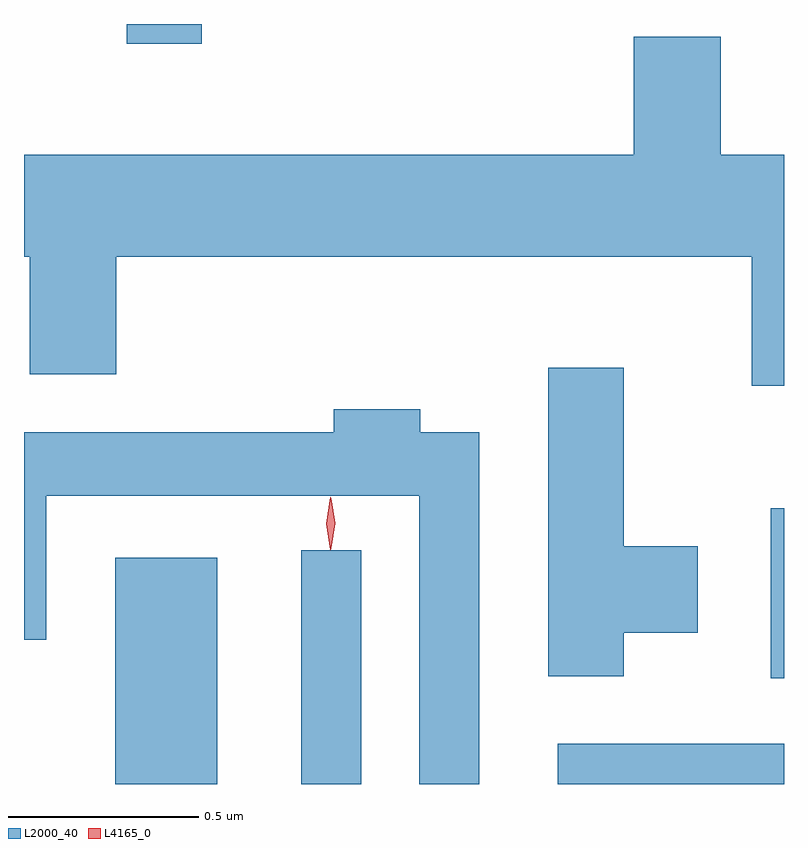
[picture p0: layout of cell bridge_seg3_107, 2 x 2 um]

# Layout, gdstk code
import gdstk
lib = gdstk.Library(unit=1e-6, precision=1e-09)
def R(c, l, rs):  # rectangles x0, y0, x1, y1
    for r in rs: c.add(gdstk.rectangle(r[:2], r[2:], *l))
def P(c, l, *ps):  # polygons
    for p in ps: c.add(gdstk.Polygon(p, *l))
L2000_40 = (2000, 40)
L4165_0 = (4165, 0)

bridge_seg3_107 = lib.new_cell('bridge_seg3_107')
R(bridge_seg3_107, L2000_40, [(1030.376,1248.948,1030.644,1249.544), (1030.866,1248.948,1031.024,1249.563), (1031.541,1248.948,1032.136,1249.054), (1032.101,1249.226,1032.136,1249.674), (1030.406,1250.896,1030.604,1250.948)])
P(bridge_seg3_107, L2000_40, [(1032.136,1250.604),(1031.969,1250.604),(1031.969,1250.914),(1031.741,1250.914),(1031.741,1250.604),(1030.136,1250.604),(1030.136,1250.336),(1030.151,1250.336),(1030.151,1250.026),(1030.379,1250.026),(1030.379,1250.336),(1032.051,1250.336),(1032.051,1249.996),(1032.136,1249.996)],
  [(1031.714,1249.346),(1031.909,1249.346),(1031.909,1249.574),(1031.714,1249.574),(1031.714,1250.044),(1031.516,1250.044),(1031.516,1249.231),(1031.714,1249.231)],
  [(1031.334,1249.874),(1031.179,1249.874),(1031.179,1249.934),(1030.951,1249.934),(1030.951,1249.874),(1030.136,1249.874),(1030.136,1249.328),(1030.194,1249.328),(1030.194,1249.706),(1031.176,1249.706),(1031.176,1248.948),(1031.334,1248.948)])
P(bridge_seg3_107, L4165_0, [(1030.942,1249.563),(1030.942,1249.564),(1030.932,1249.633),(1030.942,1249.702),(1030.942,1249.703),(1030.943,1249.702),(1030.952,1249.633),(1030.943,1249.564)],
  [(1030.945,1249.567),(1030.944,1249.568),(1030.935,1249.634),(1030.944,1249.7),(1030.945,1249.7),(1030.945,1249.7),(1030.955,1249.634),(1030.945,1249.568)])

lib.write_gds('bridge_seg3_107.gds')
